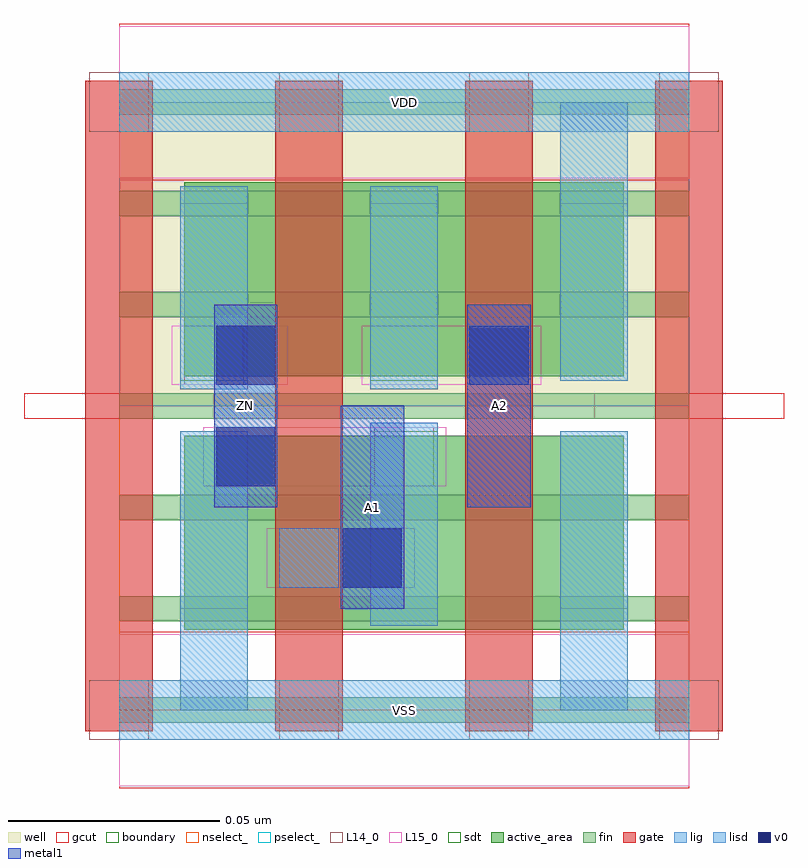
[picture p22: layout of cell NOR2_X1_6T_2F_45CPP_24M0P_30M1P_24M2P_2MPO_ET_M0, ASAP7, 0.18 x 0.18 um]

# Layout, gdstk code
import gdstk
lib = gdstk.Library(unit=1e-6, precision=2.5e-10)
def R(c, l, rs):  # rectangles x0, y0, x1, y1
    for r in rs: c.add(gdstk.rectangle(r[:2], r[2:], *l))
def A(c, l, x, y, w, h, nx, ny, dx, dy):  # array of equal rectangles
    R(c, l, [(x+i*dx, y+j*dy, x+i*dx+w, y+j*dy+h) for i in range(nx) for j in range(ny)])
well = (1, 0)
fin = (2, 0)
gate = (7, 0)
gcut = (10, 0)
active_area = (11, 0)
nselect_ = (12, 0)
pselect_ = (13, 0)
L14_0 = (14, 0)
L15_0 = (15, 0)
lig = (16, 0)
lisd = (17, 0)
v0 = (18, 0)
metal1 = (19, 0)
sdt = (88, 0)
boundary = (100, 0)

nor2_x1_6t_2f_45cpp_24m0 = lib.new_cell('NOR2_X1_6T_2F_45CPP_24M0P_30M1P_24M2P_2MPO_ET_M0')
R(nor2_x1_6t_2f_45cpp_24m0, well, [(0,0.072,0.135,0.144)])
A(nor2_x1_6t_2f_45cpp_24m0, fin, 0, -0.003, 0.135, 0.006, 1, 7, 0, 0.024)
A(nor2_x1_6t_2f_45cpp_24m0, gate, -0.008, -0.005, 0.016, 0.154, 4, 1, 0.045, 0)
R(nor2_x1_6t_2f_45cpp_24m0, gcut, [(0,-0.0185,0.135,0.0185), (-0.0225,0.069,0.0225,0.075), (0.1125,0.069,0.1575,0.075), (0,0.1255,0.135,0.1625)])
R(nor2_x1_6t_2f_45cpp_24m0, active_area, [(0.0155,0.019,0.0745,0.065), (0.0605,0.019,0.1195,0.065), (0.0155,0.079,0.0745,0.125), (0.0605,0.079,0.1195,0.125)])
R(nor2_x1_6t_2f_45cpp_24m0, nselect_, [(0,0,0.135,0.072)])
R(nor2_x1_6t_2f_45cpp_24m0, pselect_, [(0,0.072,0.135,0.144)])
A(nor2_x1_6t_2f_45cpp_24m0, L14_0, -0.007, -0.007, 0.014, 0.014, 4, 2, 0.045, 0.144)
R(nor2_x1_6t_2f_45cpp_24m0, L14_0, [(0.038,0.029,0.052,0.043), (0.0605,0.053,0.0745,0.067), (0.0155,0.077,0.0295,0.091), (0.083,0.077,0.097,0.091)])
R(nor2_x1_6t_2f_45cpp_24m0, L15_0, [(0,-0.018,0.135,0.018), (0.035,0.029,0.07,0.043), (0.02,0.053,0.0775,0.067), (0.0125,0.077,0.04,0.091), (0.0575,0.077,0.1,0.091), (0,0.126,0.135,0.162)])
R(nor2_x1_6t_2f_45cpp_24m0, lig, [(0,-0.007,0.135,0.007), (0.038,0.029,0.052,0.043), (0.083,0.077,0.097,0.091), (0,0.137,0.135,0.151)])
R(nor2_x1_6t_2f_45cpp_24m0, lisd, [(0.0145,0,0.0305,0.066), (0.1045,0,0.1205,0.066), (0.0595,0.02,0.0755,0.068), (0.0145,0.076,0.0305,0.124), (0.0595,0.076,0.0755,0.124), (0.1045,0.078,0.1205,0.144)])
R(nor2_x1_6t_2f_45cpp_24m0, v0, [(0.053,0.029,0.067,0.043), (0.023,0.053,0.037,0.067), (0.023,0.077,0.037,0.091), (0.083,0.077,0.097,0.091)])
R(nor2_x1_6t_2f_45cpp_24m0, metal1, [(0.0525,0.024,0.0675,0.072), (0.0225,0.048,0.0375,0.096), (0.0825,0.048,0.0975,0.096)])
A(nor2_x1_6t_2f_45cpp_24m0, sdt, 0.0145, 0.024, 0.016, 0.042, 3, 2, 0.045, 0.054)
R(nor2_x1_6t_2f_45cpp_24m0, boundary, [(0,0,0.135,0.144)])
nor2_x1_6t_2f_45cpp_24m0.add(gdstk.Label('A2', (0.09,0.072), layer=19, texttype=251))
nor2_x1_6t_2f_45cpp_24m0.add(gdstk.Label('A1', (0.06,0.048), layer=19, texttype=251))
nor2_x1_6t_2f_45cpp_24m0.add(gdstk.Label('ZN', (0.03,0.072), layer=19, texttype=251))
nor2_x1_6t_2f_45cpp_24m0.add(gdstk.Label('VDD', (0.0675,0.144), layer=15, texttype=251))
nor2_x1_6t_2f_45cpp_24m0.add(gdstk.Label('VSS', (0.0675,0), layer=15, texttype=251))
nor2_x1_6t_2f_45cpp_24m0.add(gdstk.Label('VDD', (0.0675,0.144), layer=1, texttype=251))
nor2_x1_6t_2f_45cpp_24m0.add(gdstk.Label('VSS', (0.0675,0), layer=3, texttype=251))

lib.write_gds('NOR2_X1_6T_2F_45CPP_24M0P_30M1P_24M2P_2MPO_ET_M0.gds')
